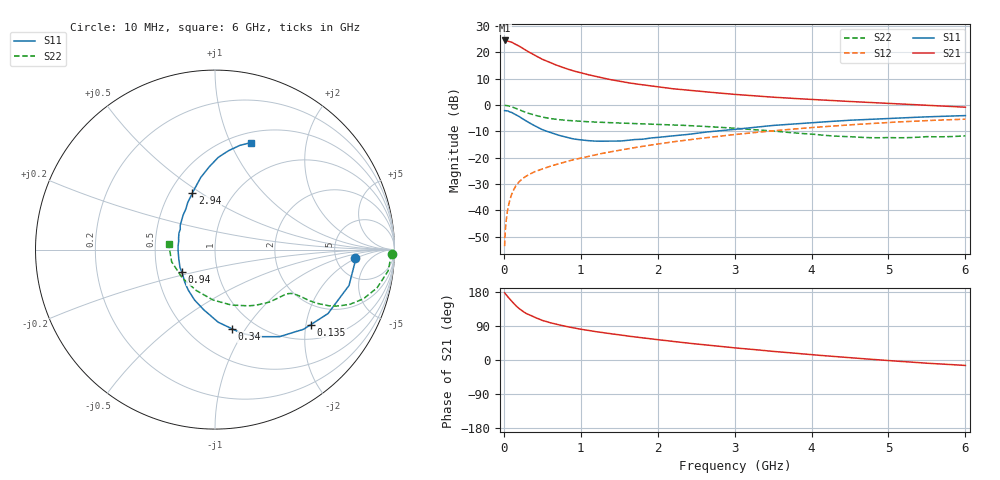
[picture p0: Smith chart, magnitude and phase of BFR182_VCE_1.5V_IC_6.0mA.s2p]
! Infineon Technologies  Discrete & RF Semiconductors
! BFR182
! VCE =  1.5 V,  IC =  6.0 mA
! Common Emitter S-Parameters:  Nov 2015
# GHz  S  MA  R  50
!  f  S11  S21  S12  S22
! GHz  MAG  ANG  MAG  ANG  MAG  ANG  MAG  ANG
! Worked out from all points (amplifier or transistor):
!   210 points, 10 MHz to 6 GHz, reference 50 ohm
!   highest |S21| = 24.5 dB at 10 MHz (marker M1)
!   |S21| within 3 dB of that: start of sweep to 246.9 MHz
!   unconditionally stable (mu >= 1): 942.8 MHz to 2.786 GHz
!   at 185 MHz: K = 0.38, MSG = 26.1 dB, |S12| = -29.6 dB
!   at 1.52 GHz: K = 1.07, MAG = 11.4 dB, |S12| = -17.1 dB
!   at 6 GHz: K = 0.90, MSG = 2.3 dB, |S12| = -5.4 dB
!   S11 on the Smith chart (normalised r, x): 10 MHz: 7.77, -1.87; 135 MHz: 1.38, -2.14; 340 MHz: 0.79, -0.87; 940 MHz: 0.67, -0.17; 2.94 GHz: 0.65, +0.46; 6 GHz: 0.61, +1.20
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0.01  0.7832 -3.4  16.76 177.4  0.0021 91.9  0.9881 -1.4
0.05  0.773 -15.0  16.36 167.3  0.0104 81.1  0.9721 -7.0
0.1  0.7236 -29.5  15.63 155.4  0.0199 76.5  0.9276 -13.3
0.135  0.6784 -38.0  14.58 147.8  0.0258 71.3  0.887 -16.8
0.15  0.664 -41.9  14.22 144.3  0.0284 69.7  0.8707 -18.4
0.2  0.6038 -53.5  13.05 135.5  0.0351 66.5  0.8123 -22.0
0.26  0.5292 -65.5  11.55 126.7  0.0418 63.7  0.7472 -24.9
0.3  0.4888 -72.5  10.61 121.8  0.0456 62.7  0.7102 -26.2
0.34  0.4517 -77.8  9.845 118.5  0.049 61.8  0.6825 -26.8
0.4  0.4049 -87.5  8.779 112.5  0.0542 60.7  0.641 -27.8
0.5  0.341 -100.6  7.371 104.4  0.0611 60.4  0.5902 -28.5
0.6  0.303 -112.1  6.368 98.5  0.0688 60.8  0.5547 -28.6
0.7  0.2705 -123.4  5.585 93.4  0.0756 61.3  0.5305 -28.9
0.94  0.2233 -146.4  4.3 83.5  0.0941 62.2  0.497 -29.6
1.02  0.2166 -154.9  4.006 80.6  0.0999 62.5  0.4884 -30.0
1.4  0.2067 174.7  3.001 69.1  0.1303 62.9  0.4615 -33.2
2.02  0.2442 140.5  2.186 53.2  0.1838 60.8  0.43 -41.1
2.94  0.3383 111.9  1.619 33.3  0.2692 54.1  0.3677 -58.2
3.1  0.3569 108.6  1.551 30.3  0.2845 52.5  0.3533 -62.1
4.1  0.4722 92.7  1.251 12.4  0.3824 41.9  0.2716 -96.4
5.1  0.5639 81.0  1.058 -2.9  0.4746 29.5  0.2393 -144.4
6  0.6299 71.3  0.909 -14.4  0.5383 16.7  0.2599 172.6
